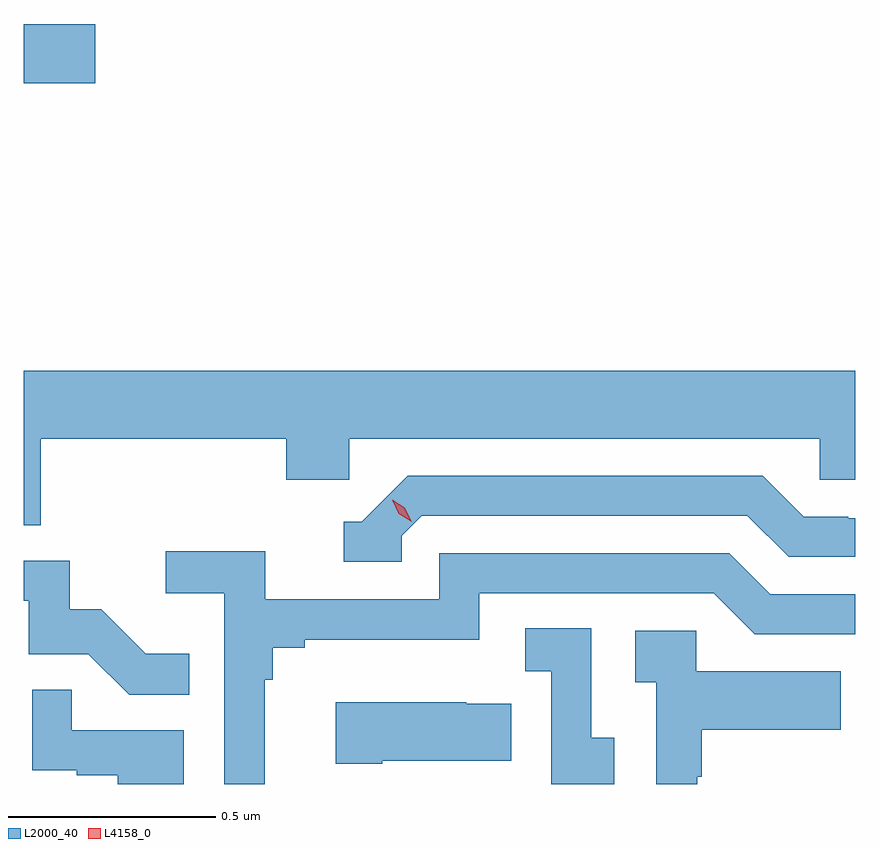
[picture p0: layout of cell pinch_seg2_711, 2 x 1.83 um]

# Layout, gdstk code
import gdstk
lib = gdstk.Library(unit=1e-6, precision=1e-09)
def R(c, l, rs):  # rectangles x0, y0, x1, y1
    for r in rs: c.add(gdstk.rectangle(r[:2], r[2:], *l))
def P(c, l, *ps):  # polygons
    for p in ps: c.add(gdstk.Polygon(p, *l))
L2000_40 = (2000, 40)
L4158_0 = (4158, 0)

pinch_seg2_711 = lib.new_cell('pinch_seg2_711')
R(pinch_seg2_711, L2000_40, [(1097.517,592.547,1097.689,592.689)])
P(pinch_seg2_711, L2000_40, [(1097.558,591.692),(1098.149,591.692),(1098.149,591.594),(1098.3,591.594),(1098.3,591.692),(1099.431,591.692),(1099.431,591.594),(1099.517,591.594),(1099.517,591.856),(1097.517,591.856),(1097.517,591.484),(1097.558,591.484)],
  [(1098.426,591.459),(1098.474,591.507),(1099.257,591.507),(1099.356,591.408),(1099.517,591.408),(1099.517,591.501),(1099.5,591.501),(1099.5,591.504),(1099.393,591.504),(1099.294,591.603),(1098.441,591.603),(1098.33,591.492),(1098.287,591.492),(1098.287,591.396),(1098.426,591.396)],
  [(1098.097,591.113),(1098.116,591.113),(1098.116,591.19),(1098.193,591.19),(1098.193,591.209),(1098.612,591.209),(1098.612,591.321),(1099.176,591.321),(1099.275,591.222),(1099.517,591.222),(1099.517,591.318),(1099.312,591.318),(1099.213,591.417),(1098.516,591.417),(1098.516,591.306),(1098.098,591.306),(1098.098,591.422),(1097.859,591.422),(1097.859,591.32),(1098,591.32),(1098,590.862),(1098.097,590.862)],
  [(1097.915,591.175),(1097.811,591.175),(1097.704,591.282),(1097.628,591.282),(1097.628,591.399),(1097.517,591.399),(1097.517,591.303),(1097.529,591.303),(1097.529,591.174),(1097.673,591.174),(1097.771,591.076),(1097.915,591.076)],
  [(1098.937,590.973),(1098.882,590.973),(1098.882,591.236),(1098.723,591.236),(1098.723,591.133),(1098.786,591.133),(1098.786,590.862),(1098.937,590.862)],
  [(1099.137,590.879),(1099.147,590.879),(1099.147,590.993),(1099.481,590.993),(1099.481,591.133),(1099.134,591.133),(1099.134,591.231),(1098.987,591.231),(1098.987,591.107),(1099.038,591.107),(1099.038,590.862),(1099.137,590.862)],
  [(1097.902,590.991),(1097.633,590.991),(1097.633,591.089),(1097.538,591.089),(1097.538,590.895),(1097.645,590.895),(1097.645,590.883),(1097.744,590.883),(1097.744,590.862),(1097.902,590.862)],
  [(1098.379,590.918),(1098.689,590.918),(1098.689,591.055),(1098.581,591.055),(1098.581,591.058),(1098.267,591.058),(1098.267,590.911),(1098.379,590.911)])
P(pinch_seg2_711, L4158_0, [(1098.45,591.493),(1098.419,591.512),(1098.403,591.545),(1098.403,591.545),(1098.403,591.545),(1098.434,591.526),(1098.45,591.493),(1098.45,591.493)])

lib.write_gds('pinch_seg2_711.gds')
